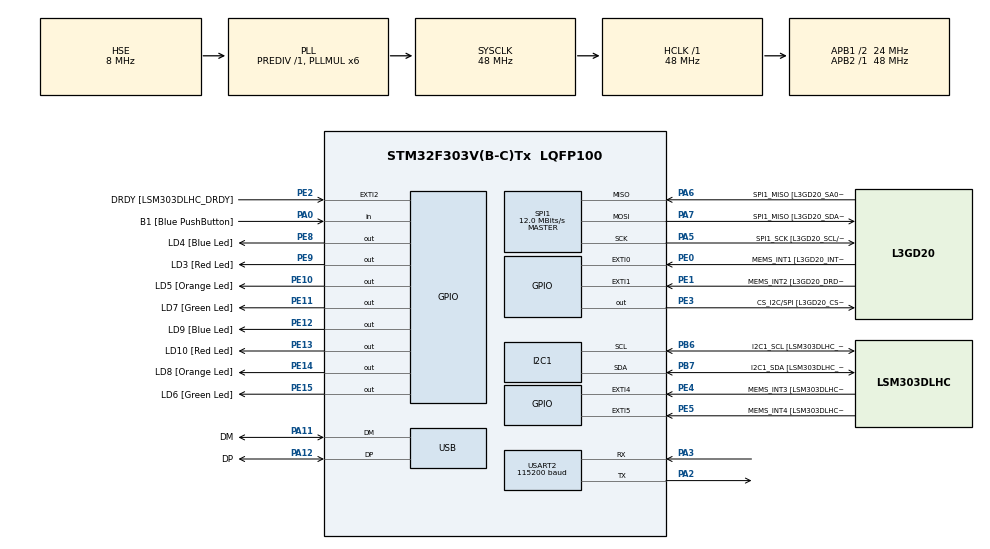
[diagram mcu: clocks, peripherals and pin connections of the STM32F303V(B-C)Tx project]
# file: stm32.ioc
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I2C1.Timing=0x00201D2B
I2C1.Timing-I2C=0x2000090E
Mcu.Family=STM32F3
Mcu.Name=STM32F303V(B-C)Tx
Mcu.Package=LQFP100
NVIC.EXTI2_TSC_IRQn=true\:0\:0\:false\:false\:true\:true\:true\:true
NVIC.PriorityGroup=NVIC_PRIORITYGROUP_0
NVIC.USART2_IRQn=true\:0\:0\:false\:false\:true\:true\:true\:true
NVIC.USB_LP_CAN_RX0_IRQn=true\:0\:0\:false\:false\:true\:false\:true\:true
PA0.GPIO_Label=B1 [Blue PushButton]
PA0.Signal=GPIO_Input
PA11.GPIO_Label=DM
PA11.Mode=Device
PA11.Signal=USB_DM
PA12.GPIO_Label=DP
PA12.Mode=Device
PA12.Signal=USB_DP
PA13.GPIO_Label=SWDIO
PA13.Mode=Serial_Wire
PA13.Signal=SYS_JTMS-SWDIO
PA14.GPIO_Label=SWCLK
PA14.Mode=Serial_Wire
PA14.Signal=SYS_JTCK-SWCLK
PA2.Mode=Asynchronous
PA2.Signal=USART2_TX
PA3.Mode=Asynchronous
PA3.Signal=USART2_RX
PA5.GPIO_Label=SPI1_SCK [L3GD20_SCL/SPC]
PA5.Mode=Full_Duplex_Master
PA5.Signal=SPI1_SCK
PA6.GPIO_Label=SPI1_MISO [L3GD20_SA0/SDO]
PA6.Mode=Full_Duplex_Master
PA6.Signal=SPI1_MISO
PA7.GPIO_Label=SPI1_MISO [L3GD20_SDA/SDI/SDO]
PA7.Mode=Full_Duplex_Master
PA7.Signal=SPI1_MOSI
PB3.GPIO_Label=SWO
PB3.Signal=SYS_JTDO-TRACESWO
PB6.GPIO_Label=I2C1_SCL [LSM303DLHC_SCL]
PB6.GPIO_Pu=GPIO_PULLUP
PB6.Mode=I2C
PB6.Signal=I2C1_SCL
PB7.GPIO_Label=I2C1_SDA [LSM303DLHC_SDA]
PB7.GPIO_Pu=GPIO_PULLUP
PB7.Mode=I2C
PB7.Signal=I2C1_SDA
PC14-OSC32_IN.GPIO_Label=OSC32_IN
PC14-OSC32_IN.Signal=RCC_OSC32_IN
PC15-OSC32_OUT.GPIO_Label=OSC32_OUT
PC15-OSC32_OUT.Signal=RCC_OSC32_OUT
PE0.GPIO_Label=MEMS_INT1 [L3GD20_INT1]
PE0.GPIO_ModeDefaultEXTI=GPIO_MODE_EVT_RISING
PE0.Signal=GPXTI0
PE1.GPIO_Label=MEMS_INT2 [L3GD20_DRDY/INT2]
PE1.GPIO_ModeDefaultEXTI=GPIO_MODE_EVT_RISING
PE1.Signal=GPXTI1
PE10.GPIO_Label=LD5 [Orange Led]
PE10.Signal=GPIO_Output
PE11.GPIO_Label=LD7 [Green Led]
PE11.Signal=GPIO_Output
PE12.GPIO_Label=LD9 [Blue Led]
PE12.Signal=GPIO_Output
PE13.GPIO_Label=LD10 [Red Led]
PE13.Signal=GPIO_Output
PE14.GPIO_Label=LD8 [Orange Led]
PE14.Signal=GPIO_Output
PE15.GPIO_Label=LD6 [Green Led]
PE15.Signal=GPIO_Output
PE2.GPIO_Label=DRDY [LSM303DLHC_DRDY]
PE2.GPIO_ModeDefaultEXTI=GPIO_MODE_IT_RISING_FALLING
PE2.Signal=GPXTI2
PE3.GPIO_Label=CS_I2C/SPI [L3GD20_CS_I2C/SPI]
PE3.Signal=GPIO_Output
PE4.GPIO_Label=MEMS_INT3 [LSM303DLHC_INT1]
PE4.GPIO_ModeDefaultEXTI=GPIO_MODE_EVT_RISING
PE4.Signal=GPXTI4
PE5.GPIO_Label=MEMS_INT4 [LSM303DLHC_INT2]
PE5.GPIO_ModeDefaultEXTI=GPIO_MODE_EVT_RISING
PE5.Signal=GPXTI5
PE8.GPIO_Label=LD4 [Blue Led]
PE8.Signal=GPIO_Output
PE9.GPIO_Label=LD3 [Red Led]
PE9.Signal=GPIO_Output
PF0-OSC_IN.GPIO_Label=OSC_IN
PF0-OSC_IN.Mode=HSE-External-Clock-Source
PF0-OSC_IN.Signal=RCC_OSC_IN
PF1-OSC_OUT.GPIO_Label=OSC_OUT
PF1-OSC_OUT.Signal=RCC_OSC_OUT
ProjectManager.HeapSize=0x200
ProjectManager.StackSize=0x400
ProjectManager.TargetToolchain=STM32CubeIDE
RCC.AHBFreq_Value=48000000
RCC.APB1CLKDivider=RCC_HCLK_DIV2
RCC.APB1Freq_Value=24000000
RCC.APB1TimFreq_Value=48000000
RCC.APB2Freq_Value=48000000
RCC.APB2TimFreq_Value=48000000
RCC.CortexFreq_Value=48000000
RCC.HCLKFreq_Value=48000000
RCC.HSE_VALUE=8000000
RCC.HSI_VALUE=8000000
RCC.LSE_VALUE=32768
RCC.PLLMUL=RCC_PLL_MUL6
RCC.SYSCLKFreq_VALUE=48000000
RCC.SYSCLKSourceVirtual=RCC_SYSCLKSOURCE_PLLCLK
RCC.USBFreq_Value=48000000
SPI1.BaudRatePrescaler=SPI_BAUDRATEPRESCALER_4
SPI1.BaudRatePrescaler-Full_Duplex_Master=SPI_BAUDRATEPRESCALER_2
SPI1.CalculateBaudRate=12.0 MBits/s
SPI1.CalculateBaudRate-Full_Duplex_Master=24.0 MBits/s
SPI1.Direction=SPI_DIRECTION_2LINES
SPI1.Mode=SPI_MODE_MASTER
SPI1.Mode-Full_Duplex_Master=SPI_MODE_MASTER
SPI1.VirtualType=VM_MASTER
USART2.BaudRate=115200
USART2.VirtualMode-Asynchronous=VM_ASYNC
USB_DEVICE.CLASS_NAME_FS=CDC
USB_DEVICE.VirtualMode=Cdc
USB_DEVICE.VirtualModeFS=Cdc_FS
VP_USB_DEVICE_VS_USB_DEVICE_CDC_FS.Mode=CDC_FS
board=STM32F3DISCOVERY

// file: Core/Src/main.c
/* USER CODE BEGIN Header */
/**
  ******************************************************************************
  * @file           : main.c
  * @brief          : Main program body
  ******************************************************************************
  * @attention
  *
  * Copyright (c) 2025 STMicroelectronics.
  * All rights reserved.
  *
  * This software is licensed under terms that can be found in the LICENSE file
  * in the root directory of this software component.
  * If no LICENSE file comes with this software, it is provided AS-IS.
  *
  ******************************************************************************
  */
/* USER CODE END Header */
#include "main.h"
#include "usb_device.h"

/* USER CODE BEGIN Includes */
#include <stdlib.h>
#include <stdio.h>
#include <string.h>

#include "usbd_cdc_if.h"
#include "shared_logic.h"
#include <stdbool.h>

/* USER CODE END Includes */

I2C_HandleTypeDef hi2c1;

SPI_HandleTypeDef hspi1;

UART_HandleTypeDef huart2;

void SystemClock_Config(void);
static void MX_GPIO_Init(void);
static void MX_I2C1_Init(void);
static void MX_SPI1_Init(void);
static void MX_USART2_UART_Init(void);

/* USER CODE BEGIN 0 */
int16_t little_endian(int16_t value) {
    return (value << 8) | ((value >> 8) & 0xFF);
}

uint8_t rx_buffer[256]; // Adjust size as needed
char buffer[128];
char send_AT_command[64];

enum {
	NOISE_DATA,
	MAGNETOMETER_DATA,
} state = NOISE_DATA;

typedef struct __attribute__((packed)) {
	uint16_t header;
	double latitude;
	double longitude;
	double decibels;
} NoiseData;

void sendNoiseData(double latitude, double longitude, double decibels) {
	NoiseData data = {
		.header = 0xABCD,
		.latitude = latitude,
		.longitude = longitude,
		.decibels = decibels,
	};
    snprintf(buffer, sizeof(buffer), "{\"HEADER\":%u, \"D1\":%.3f, \"D2\":%.3f, \"D3\":%.3f}\n\r", data.header, data.latitude, data.longitude, data.decibels);
    snprintf(send_AT_command, sizeof(send_AT_command), "AT+CIPSEND=0,%u\r\n", strlen(buffer) - 2);
    //CDC_Transmit_FS((uint8_t*)&data, sizeof(NoiseData));
}

double testLatitude = -80;
double testLongitude = -150;
double testDecibels = 50;

void sendTestData() {
	sendNoiseData(testLatitude, testLongitude, testDecibels);

	testLatitude += 20;
	if (testLatitude > 80) {
		testLatitude = -80;
		testLongitude += 50;
		if (testLongitude > 150) testLongitude = -150;
	}
	testDecibels += 10;
	if (testDecibels > 150) testDecibels = 50;
}

uint8_t i2c1Write(uint8_t device, uint8_t reg, uint8_t data) {
	return HAL_I2C_Mem_Write(&hi2c1, device << 1, reg, I2C_MEMADD_SIZE_8BIT, &data, 1, 10);
}

void i2c1Read(uint8_t device, uint8_t reg, uint8_t *data, uint8_t size) {
	if (size > 1 && device == 0x19) reg |= 0x80;
	HAL_I2C_Mem_Read(&hi2c1, device << 1, reg, I2C_MEMADD_SIZE_8BIT, data, size, size);
}

void initMagnetometer() {
	__HAL_I2C_ENABLE(&hi2c1);
	i2c1Write(0x1E, 0x00, 0x10); // 7.5 Hz
	i2c1Write(0x1E, 0x02, 0x00); // Continuous conversion mode
}

typedef struct __attribute__((packed)) {
	uint16_t header;
	uint8_t data[6];
} MagnetometerData;

void HAL_GPIO_EXTI_Callback(uint16_t GPIO_Pin) {
	if (state == MAGNETOMETER_DATA) {
		MagnetometerData data = { .header = 0xBBCD };
		i2c1Read(0x1E, 0x03, data.data, 6);

        uint16_t combined1 = (data.data[0] << 8) | data.data[1];
        uint16_t combined2 = (data.data[2] << 8) | data.data[3];
        uint16_t combined3 = (data.data[4] << 8) | data.data[5];

        combined1 = little_endian(combined1);
        combined2 = little_endian(combined2);
        combined3 = little_endian(combined3);

        snprintf(buffer, sizeof(buffer), "{\"HEADER\":%u, \"D1\":%.3f, \"D2\":%.3f, \"D3\":%.3f}\n\r", data.header, (float)combined1, (float)combined2, (float)combined3);
        snprintf(send_AT_command, sizeof(send_AT_command), "AT+CIPSEND=0,%u\r\n", strlen(buffer) - 2);
        //CDC_Transmit_FS((uint8_t *)&data, sizeof(MagnetometerData));
	}
}

char ssid[64];
char password[64];
char ssid_AT_command[256];

// Function to send response back to Python
void SendResponseToPC(const char* message) {
    CDC_Transmit_FS((uint8_t*)message, strlen(message));
}

void parse_ipd_message(char *buffer) {
    // Find the start of the +IPD message
    char *start = strstr(buffer, "+IPD,");
    if (start != NULL) {
        // Move pointer to the data part
        start = strchr(start, ':');
        if (start != NULL) {
            start++; // Move past the ':'
            char *delimiter = strchr(start, ':');
            if (delimiter != NULL) {
                *delimiter = '\0'; // Null-terminate the SSID
                strcpy(ssid, start); // Copy the SSID

                // Move past the ':' to get the password
                start = delimiter + 1;
                strcpy(password, start); // Copy the password
            }
        }
    }
}

/* USER CODE END 0 */

int main(void)
{

  /* MCU Configuration--------------------------------------------------------*/

  /* Reset of all peripherals, Initializes the Flash interface and the Systick. */
  HAL_Init();

  /* Configure the system clock */
  SystemClock_Config();

  /* Initialize all configured peripherals */
  MX_GPIO_Init();
  MX_I2C1_Init();
  MX_SPI1_Init();
  MX_USB_DEVICE_Init();
  MX_USART2_UART_Init();
  /* USER CODE BEGIN 2 */

  initMagnetometer();

  memset(ssid_AT_command, 0, sizeof(ssid_AT_command));
  memset(ssid, 0, sizeof(ssid));
  memset(password, 0, sizeof(password));

  /* USER CODE END 2 */

  /* Infinite loop */
  /* USER CODE BEGIN WHILE */

  GPIO_PinState lastState = GPIO_PIN_RESET;
  uint8_t i = 0;

  int8_t command_counter = 0;
  uint8_t waiting_on_response = 0;
  uint8_t sending_data = 0;
  uint8_t send_command_sent = 0;

  while (1)
  {
	/* UART INTERRUPT CODE */
	  if (received_buffer[0] != 0 && sending_data == 1) sending_data = 0; // Nov ukaz bo ustavil pošiljanje podatkov
	  switch (received_buffer[0]) {
	  	  case 'A': // Inicializiraj
	  		  if (waiting_on_response == 0) {
				  if (command_counter == 0) command_counter = 3;

				  switch (command_counter) {
					  case 3:
						  HAL_UART_Transmit(&huart2, (uint8_t*)"AT+CWMODE=3,0\r\n", strlen("AT+CWMODE=3,0\r\n"), HAL_MAX_DELAY);
						  HAL_UART_Receive_IT(&huart2, (uint8_t*)rx_buffer, sizeof(rx_buffer));
						  waiting_on_response = 1;
						  break;
					  case 2:
						  HAL_UART_Transmit(&huart2, (uint8_t*)"AT+CIPMUX=1\r\n", strlen("AT+CIPMUX=1\r\n"), HAL_MAX_DELAY);
						  HAL_UART_Receive_IT(&huart2, (uint8_t*)rx_buffer, sizeof(rx_buffer));
						  waiting_on_response = 1;
						  break;
					  case 1:
						  HAL_UART_Transmit(&huart2, (uint8_t*)"AT+CWJAP=\"1FDCB3\",\"qq3dmpu8g6\"\r\n", strlen("AT+CWJAP=\"1FDCB3\",\"qq3dmpu8g6\"\r\n"), HAL_MAX_DELAY);
						  HAL_UART_Receive_IT(&huart2, (uint8_t*)rx_buffer, sizeof(rx_buffer));
						  waiting_on_response = 1;
						  break;
					  default:
						  memset(received_buffer, 0, sizeof(received_buffer));
						  break;
				  }
	  		  }

			  HAL_Delay(100);
	          break;
	      case 'B': // Alternativna inicializacija
	  		  if (waiting_on_response == 0) {
				  if (command_counter == 0) command_counter = 4;

				  switch (command_counter) {
					  case 4:
						  HAL_UART_Transmit(&huart2, (uint8_t*)"AT+CWMODE=0,0\r\n", strlen("AT+CWMODE=0,0\r\n"), HAL_MAX_DELAY);
						  HAL_UART_Receive_IT(&huart2, (uint8_t*)rx_buffer, sizeof(rx_buffer));
						  waiting_on_response = 1;
						  break;
					  case 3:
						  HAL_UART_Transmit(&huart2, (uint8_t*)"AT+CWMODE=3,0\r\n", strlen("AT+CWMODE=3,0\r\n"), HAL_MAX_DELAY);
						  HAL_UART_Receive_IT(&huart2, (uint8_t*)rx_buffer, sizeof(rx_buffer));
						  waiting_on_response = 1;
						  break;
					  case 2:
						  HAL_UART_Transmit(&huart2, (uint8_t*)"AT+CIPMUX=1\r\n", strlen("AT+CIPMUX=1\r\n"), HAL_MAX_DELAY);
						  HAL_UART_Receive_IT(&huart2, (uint8_t*)rx_buffer, sizeof(rx_buffer));
						  waiting_on_response = 1;
						  break;
					  case 1:
						  HAL_UART_Transmit(&huart2, (uint8_t*)"AT+CIPSERVER=1,80\r\n", strlen("AT+CIPSERVER=1,80\r\n"), HAL_MAX_DELAY);
						  HAL_UART_Receive_IT(&huart2, (uint8_t*)rx_buffer, sizeof(rx_buffer));
						  waiting_on_response = 1;
						  break;
					  default:
						  memset(received_buffer, 0, sizeof(received_buffer));
						  break;
				  }
	  		  }

			  HAL_Delay(100);
	          break;
	      case 'C': // querries the current network connection of ESP32
	    	  memset(received_buffer, 0, sizeof(received_buffer));

	          HAL_UART_Transmit(&huart2, (uint8_t*)"AT+CWJAP?\r\n", strlen("AT+CWJAP?\r\n"), HAL_MAX_DELAY);
	          HAL_UART_Receive_IT(&huart2, (uint8_t*)rx_buffer, sizeof(rx_buffer));

	          HAL_Delay(100);
	          break;
	      case 'D':
	    	  // Handle case for 'D'
	          break;
	      case 'E':
	          // Handle case for 'E'
	          break;
	      case 'F':
	          // Handle case for 'F'
	          break;
	      case 'G': // Initiates listen mode
	          memset(received_buffer, 0, sizeof(received_buffer)); // clear the CDC buffer
	          HAL_UART_Receive_IT(&huart2, (uint8_t*)rx_buffer, sizeof(rx_buffer));

	          while (1) { // Continuous listening
	        	  if (received_buffer[0] == 'G') {
	        		  memset(received_buffer, 0, sizeof(received_buffer)); // clear the CDC buffer
	        		  SendResponseToPC("Listen Mode Exited...");
	        		  break;
	        	  }
	        	  if (received_buffer[0] != 0) {
	        		  memset(rx_buffer, 0, sizeof(rx_buffer)); // make sure not to trigger the command counter decrease thingy which will lear my preset received_buffer
	        		  break;
	        	  }
	              if (rx_buffer[3] != 0) {
					  if (strstr((char*)rx_buffer, "+IPD") != NULL) {
						  if (strstr((char*)rx_buffer, "REQUEST") != NULL) {
							  CDC_Transmit_FS((uint8_t*)rx_buffer, strlen(rx_buffer));
							  received_buffer[0] = 'I'; // set receive buffer to trigger TCP SEND on next loop
						  } else {
							  HAL_Delay(1000);
							  CDC_Transmit_FS((uint8_t*)rx_buffer, strlen(rx_buffer));
							  parse_ipd_message((char*)rx_buffer);
							  memset(rx_buffer, 0, sizeof(rx_buffer));
							  char debug_message[256];
							  if(ssid == "") break;
							  snprintf(debug_message, strlen(debug_message), "SSID: %s, Password: %s\n", ssid, password);
							  SendResponseToPC(debug_message);
							  received_buffer[0] = 'H'; // set receive buffer to trigger CWJAP on next loop
						  }
					  }
					  CDC_Transmit_FS((uint8_t*)rx_buffer, strlen(rx_buffer));
	                  HAL_Delay(100);
	                  memset(rx_buffer, 0, sizeof(rx_buffer));
	                  HAL_UART_AbortReceive_IT(&huart2);
	                  HAL_UART_Receive_IT(&huart2, (uint8_t*)rx_buffer, sizeof(rx_buffer));

	              }
	              HAL_Delay(10); // Avoid CPU overuse
	          }
	          break;
	      case 'H': // Sets the network connection of ESP32, AUTOMATIC!
	          memset(received_buffer, 0, sizeof(received_buffer)); // clear the CDC receive buffer so we avoid infinite loop
	          HAL_Delay(2000);

	          snprintf(ssid_AT_command, sizeof(ssid_AT_command), "AT+CWJAP=\"%s\",\"%s\"\r\n", ssid, password);
	          SendResponseToPC(ssid_AT_command);

	          HAL_UART_Transmit(&huart2, (uint8_t*)ssid_AT_command, strlen(ssid_AT_command), HAL_MAX_DELAY);
	          HAL_UART_Receive_IT(&huart2, (uint8_t*)rx_buffer, sizeof(rx_buffer));

	          HAL_Delay(100);
	          break;
	      case 'I': // Send prompt for network config, AUTOMATIC!
	  		  if (waiting_on_response == 0) {
				  if (command_counter == 0) {
					  command_counter = 3;
					  HAL_Delay(5000);
				  }

				  //memset(received_buffer, 0, sizeof(received_buffer));

				  switch (command_counter) {
					  case 3:
						  HAL_UART_Transmit(&huart2, (uint8_t*)"AT+CIPSTART=3,\"TCP\",\"192.168.4.2\",8081\r\n", strlen("AT+CIPSTART=3,\"TCP\",\"192.168.4.2\",8081\r\n"), HAL_MAX_DELAY);
						  HAL_UART_Receive_IT(&huart2, (uint8_t*)rx_buffer, sizeof(rx_buffer));
						  SendResponseToPC("3");
						  waiting_on_response = 1;
						  break;
					  case 2:
						  HAL_UART_Transmit(&huart2, (uint8_t*)"AT+CIPSEND=3,6\r\n", strlen("AT+CIPSEND=3,6\r\n"), HAL_MAX_DELAY);
						  HAL_UART_Receive_IT(&huart2, (uint8_t*)rx_buffer, sizeof(rx_buffer));
						  SendResponseToPC("2");
						  waiting_on_response = 1;
						  break;
					  case 1:
						  HAL_UART_Transmit(&huart2, (uint8_t*)"giveme\r\n", strlen("giveme\r\n"), HAL_MAX_DELAY);
						  HAL_UART_Receive_IT(&huart2, (uint8_t*)rx_buffer, sizeof(rx_buffer));
						  SendResponseToPC("1");
						  waiting_on_response = 1;
						  received_buffer[0] = 'G'; // set receive buffer to trigger LISTEN MODE again
						  memset(rx_buffer, 0, sizeof(rx_buffer)); // make sure not to trigger the command counter decrease thingy which will lear my preset received_buffer
						  break;
					  default:
						  memset(received_buffer, 0, sizeof(received_buffer));
						  break;
				  }
	  		  }

	          HAL_Delay(100);

	          if (received_buffer[0] == 'G') {
		          memset(received_buffer, 0, sizeof(received_buffer)); // clear the CDC buffer
		          HAL_UART_Receive_IT(&huart2, (uint8_t*)rx_buffer, sizeof(rx_buffer));

		          while (1) { // Continuous listening
		        	  if (received_buffer[0] == 'G') {
		        		  memset(received_buffer, 0, sizeof(received_buffer)); // clear the CDC buffer
		        		  SendResponseToPC("Listen Mode Exited...");
		        		  break;
		        	  }
		        	  if (received_buffer[0] != 0) {
		        		  memset(rx_buffer, 0, sizeof(rx_buffer)); // make sure not to trigger the command counter decrease thingy which will lear my preset received_buffer
		        		  break;
		        	  }
		              if (rx_buffer[3] != 0) {
						  if (strstr((char*)rx_buffer, "+IPD") != NULL) {
							  if (strstr((char*)rx_buffer, "REQUEST") != NULL) {
								  CDC_Transmit_FS((uint8_t*)rx_buffer, strlen(rx_buffer));
								  received_buffer[0] = 'I'; // set receive buffer to trigger TCP SEND on next loop
							  } else {
								  CDC_Transmit_FS((uint8_t*)rx_buffer, strlen(rx_buffer));
								  parse_ipd_message((char*)rx_buffer);
								  memset(rx_buffer, 0, sizeof(rx_buffer));
								  char debug_message[256];
								  if(ssid == "") break;
								  snprintf(debug_message, strlen(debug_message), "SSID: %s, Password: %s\n", ssid, password);
								  SendResponseToPC(debug_message);
								  received_buffer[0] = 'H'; // set receive buffer to trigger CWJAP on next loop
							  }
						  }
						  CDC_Transmit_FS((uint8_t*)rx_buffer, strlen(rx_buffer));
		                  HAL_Delay(100);
		                  memset(rx_buffer, 0, sizeof(rx_buffer));
		                  HAL_UART_AbortReceive_IT(&huart2);
		                  HAL_UART_Receive_IT(&huart2, (uint8_t*)rx_buffer, sizeof(rx_buffer));

		              }
		              HAL_Delay(10); // Avoid CPU overuse
		          }
	          }
	          break;
	      case 'J':
	          // Handle case for 'J'
	          break;
	      case 'K':
	          // Handle case for 'K'
	          break;
	      case 'L':
	          // Handle case for 'L'
	          break;
	      case 'M':
	          // Handle case for 'M'
	          break;
	      case 'N':
	          // Handle case for 'N'
	          break;
	      case 'O':
	          // Handle case for 'O'
	          break;
	      case 'P':
	          // Handle case for 'P'
	          break;
	      case 'Q':
	          // Handle case for 'Q'
	          break;
	      case 'R':
	          // Handle case for 'R'
	          break;
	      case 'S':
	          // Handle case for 'S'
	          break;
	      case 'T':
	          // Handle case for 'T'
	          break;
	      case 'U':
	          // Handle case for 'U'
	          break;
	      case 'V':
	          // Handle case for 'V'
	          break;
	      case 'W':
	          // Handle case for 'W'
	          break;
	      case 'X':
	    	  memset(received_buffer, 0, sizeof(received_buffer));

			  HAL_UART_Transmit(&huart2, (uint8_t*)"AT\r\n", strlen("AT\r\n"), HAL_MAX_DELAY);
			  HAL_UART_Receive_IT(&huart2, (uint8_t*)rx_buffer, sizeof(rx_buffer));

			  HAL_Delay(100);
	          break;
	      case 'Y':
	    	  memset(received_buffer, 0, sizeof(received_buffer));

			  HAL_UART_Transmit(&huart2, (uint8_t*)"AT+CIPSTA?\r\n", strlen("AT+CIPSTA?\r\n"), HAL_MAX_DELAY);
			  HAL_UART_Receive_IT(&huart2, (uint8_t*)rx_buffer, sizeof(rx_buffer));

			  HAL_Delay(100);
	          break;
	      case 'Z': // Posiljanje podatkov
	  		  if (waiting_on_response == 0) {
				  if (command_counter == 0) command_counter = 2;

				  switch (command_counter) {
					  case 2:
						  HAL_UART_Transmit(&huart2, (uint8_t*)"AT+CIPSTART=0,\"TCP\",\"192.168.0.30\",8080\r\n", strlen("AT+CIPSTART=0,\"TCP\",\"192.168.0.30\",8080\r\n"), HAL_MAX_DELAY);
						  HAL_UART_Receive_IT(&huart2, (uint8_t*)rx_buffer, sizeof(rx_buffer));
						  waiting_on_response = 1;
						  break;
					  case 1:
						  sending_data = 1;
						  send_command_sent = 0;
						  memset(received_buffer, 0, sizeof(received_buffer));
						  command_counter = 0;
						  break;
					  default:
						  memset(received_buffer, 0, sizeof(received_buffer));
						  break;
				  }
	  		  }

			  HAL_Delay(100);
	          break;
	      default:
	    	  HAL_UART_AbortReceive_IT(&huart2);
	          break;
	  }

	/* UART INTERRUPT CODE END*/
	/* MAGNETOMETER CODE */

	GPIO_PinState currentState = HAL_GPIO_ReadPin(GPIOA, GPIO_PIN_0);
	if (!lastState && currentState) state = (state + 1) % 2;
	lastState = currentState;

	switch (state) {
	case NOISE_DATA:
		HAL_GPIO_WritePin(GPIOE, GPIO_PIN_8, GPIO_PIN_SET);
		HAL_GPIO_WritePin(GPIOE, GPIO_PIN_9, GPIO_PIN_RESET);
		break;
	case MAGNETOMETER_DATA:
		HAL_GPIO_WritePin(GPIOE, GPIO_PIN_8, GPIO_PIN_RESET);
		HAL_GPIO_WritePin(GPIOE, GPIO_PIN_9, GPIO_PIN_SET);
		break;
	}

	if (state == NOISE_DATA && i == 0) sendTestData();
	i = (i + 1) % 50;

	/* MAGNETOMETER CODE END */

	if (sending_data == 1 && waiting_on_response == 0 && buffer[0] != 0 && send_AT_command[0] != 0) {
		if (send_command_sent == 0) {
		  HAL_UART_Transmit(&huart2, (uint8_t*)send_AT_command, strlen(send_AT_command), HAL_MAX_DELAY);
		  HAL_UART_Receive_IT(&huart2, (uint8_t*)rx_buffer, sizeof(rx_buffer));
		  waiting_on_response = 1;
		  send_command_sent = 1;
		}
		else {
		  HAL_UART_Transmit(&huart2, (uint8_t*)buffer, strlen(buffer), HAL_MAX_DELAY);
		  HAL_UART_Receive_IT(&huart2, (uint8_t*)rx_buffer, sizeof(rx_buffer));
		  waiting_on_response = 1;
		  send_command_sent = 0;

		  memset(buffer, 0, sizeof(buffer));
		  memset(send_AT_command, 0, sizeof(send_AT_command));

		  HAL_Delay(500);
		}
	}

	if (rx_buffer[0] != 0) {
	  HAL_GPIO_WritePin(GPIOE, GPIO_PIN_12, GPIO_PIN_SET);
	  HAL_Delay(1000);
	  HAL_GPIO_WritePin(GPIOE, GPIO_PIN_12, GPIO_PIN_RESET);

	  CDC_Transmit_FS((uint8_t*)rx_buffer, strlen(rx_buffer));
	  memset(rx_buffer, 0, sizeof(rx_buffer));
	  HAL_UART_AbortReceive_IT(&huart2);

	  if (command_counter > 0) command_counter--;
	  if (command_counter <= 0) memset(received_buffer, 0, sizeof(received_buffer));
	  waiting_on_response = 0;
	}

	HAL_Delay(10);

    /* USER CODE END WHILE */

  }
}

void SystemClock_Config(void)
{
  RCC_OscInitTypeDef RCC_OscInitStruct = {0};
  RCC_ClkInitTypeDef RCC_ClkInitStruct = {0};
  RCC_PeriphCLKInitTypeDef PeriphClkInit = {0};

  /** Initializes the RCC Oscillators according to the specified parameters
  * in the RCC_OscInitTypeDef structure.
  */
  RCC_OscInitStruct.OscillatorType = RCC_OSCILLATORTYPE_HSI|RCC_OSCILLATORTYPE_HSE;
  RCC_OscInitStruct.HSEState = RCC_HSE_BYPASS;
  RCC_OscInitStruct.HSEPredivValue = RCC_HSE_PREDIV_DIV1;
  RCC_OscInitStruct.HSIState = RCC_HSI_ON;
  RCC_OscInitStruct.HSICalibrationValue = RCC_HSICALIBRATION_DEFAULT;
  RCC_OscInitStruct.PLL.PLLState = RCC_PLL_ON;
  RCC_OscInitStruct.PLL.PLLSource = RCC_PLLSOURCE_HSE;
  RCC_OscInitStruct.PLL.PLLMUL = RCC_PLL_MUL6;
  if (HAL_RCC_OscConfig(&RCC_OscInitStruct) != HAL_OK)
  {
    Error_Handler();
  }

  /** Initializes the CPU, AHB and APB buses clocks
  */
  RCC_ClkInitStruct.ClockType = RCC_CLOCKTYPE_HCLK|RCC_CLOCKTYPE_SYSCLK
                              |RCC_CLOCKTYPE_PCLK1|RCC_CLOCKTYPE_PCLK2;
  RCC_ClkInitStruct.SYSCLKSource = RCC_SYSCLKSOURCE_PLLCLK;
  RCC_ClkInitStruct.AHBCLKDivider = RCC_SYSCLK_DIV1;
  RCC_ClkInitStruct.APB1CLKDivider = RCC_HCLK_DIV2;
  RCC_ClkInitStruct.APB2CLKDivider = RCC_HCLK_DIV1;

  if (HAL_RCC_ClockConfig(&RCC_ClkInitStruct, FLASH_LATENCY_1) != HAL_OK)
  {
    Error_Handler();
  }
  PeriphClkInit.PeriphClockSelection = RCC_PERIPHCLK_USB|RCC_PERIPHCLK_USART2
                              |RCC_PERIPHCLK_I2C1;
  PeriphClkInit.Usart2ClockSelection = RCC_USART2CLKSOURCE_PCLK1;
  PeriphClkInit.I2c1ClockSelection = RCC_I2C1CLKSOURCE_HSI;
  PeriphClkInit.USBClockSelection = RCC_USBCLKSOURCE_PLL;
  if (HAL_RCCEx_PeriphCLKConfig(&PeriphClkInit) != HAL_OK)
  {
    Error_Handler();
  }
}

static void MX_I2C1_Init(void)
{

  hi2c1.Instance = I2C1;
  hi2c1.Init.Timing = 0x00201D2B;
  hi2c1.Init.OwnAddress1 = 0;
  hi2c1.Init.AddressingMode = I2C_ADDRESSINGMODE_7BIT;
  hi2c1.Init.DualAddressMode = I2C_DUALADDRESS_DISABLE;
  hi2c1.Init.OwnAddress2 = 0;
  hi2c1.Init.OwnAddress2Masks = I2C_OA2_NOMASK;
  hi2c1.Init.GeneralCallMode = I2C_GENERALCALL_DISABLE;
  hi2c1.Init.NoStretchMode = I2C_NOSTRETCH_DISABLE;
  if (HAL_I2C_Init(&hi2c1) != HAL_OK)
  {
    Error_Handler();
  }

  /** Configure Analogue filter
  */
  if (HAL_I2CEx_ConfigAnalogFilter(&hi2c1, I2C_ANALOGFILTER_ENABLE) != HAL_OK)
  {
    Error_Handler();
  }

  /** Configure Digital filter
  */
  if (HAL_I2CEx_ConfigDigitalFilter(&hi2c1, 0) != HAL_OK)
  {
    Error_Handler();
  }

}

static void MX_SPI1_Init(void)
{

  /* SPI1 parameter configuration*/
  hspi1.Instance = SPI1;
  hspi1.Init.Mode = SPI_MODE_MASTER;
  hspi1.Init.Direction = SPI_DIRECTION_2LINES;
  hspi1.Init.DataSize = SPI_DATASIZE_4BIT;
  hspi1.Init.CLKPolarity = SPI_POLARITY_LOW;
  hspi1.Init.CLKPhase = SPI_PHASE_1EDGE;
  hspi1.Init.NSS = SPI_NSS_SOFT;
  hspi1.Init.BaudRatePrescaler = SPI_BAUDRATEPRESCALER_4;
  hspi1.Init.FirstBit = SPI_FIRSTBIT_MSB;
  hspi1.Init.TIMode = SPI_TIMODE_DISABLE;
  hspi1.Init.CRCCalculation = SPI_CRCCALCULATION_DISABLE;
  hspi1.Init.CRCPolynomial = 7;
  hspi1.Init.CRCLength = SPI_CRC_LENGTH_DATASIZE;
  hspi1.Init.NSSPMode = SPI_NSS_PULSE_ENABLE;
  if (HAL_SPI_Init(&hspi1) != HAL_OK)
  {
    Error_Handler();
  }

}

static void MX_USART2_UART_Init(void)
{

  huart2.Instance = USART2;
  huart2.Init.BaudRate = 115200;
  huart2.Init.WordLength = UART_WORDLENGTH_8B;
  huart2.Init.StopBits = UART_STOPBITS_1;
  huart2.Init.Parity = UART_PARITY_NONE;
  huart2.Init.Mode = UART_MODE_TX_RX;
  huart2.Init.HwFlowCtl = UART_HWCONTROL_NONE;
  huart2.Init.OverSampling = UART_OVERSAMPLING_16;
  huart2.Init.OneBitSampling = UART_ONE_BIT_SAMPLE_DISABLE;
  huart2.AdvancedInit.AdvFeatureInit = UART_ADVFEATURE_NO_INIT;
  if (HAL_UART_Init(&huart2) != HAL_OK)
  {
    Error_Handler();
  }

}

static void MX_GPIO_Init(void)
{
  GPIO_InitTypeDef GPIO_InitStruct = {0};

  /* GPIO Ports Clock Enable */
  __HAL_RCC_GPIOE_CLK_ENABLE();
  __HAL_RCC_GPIOC_CLK_ENABLE();
  __HAL_RCC_GPIOF_CLK_ENABLE();
  __HAL_RCC_GPIOA_CLK_ENABLE();
  __HAL_RCC_GPIOB_CLK_ENABLE();

  /*Configure GPIO pin Output Level */
  HAL_GPIO_WritePin(GPIOE, CS_I2C_SPI_Pin|LD4_Pin|LD3_Pin|LD5_Pin
                          |LD7_Pin|LD9_Pin|LD10_Pin|LD8_Pin
                          |LD6_Pin, GPIO_PIN_RESET);

  /*Configure GPIO pin : DRDY_Pin */
  GPIO_InitStruct.Pin = DRDY_Pin;
  GPIO_InitStruct.Mode = GPIO_MODE_IT_RISING_FALLING;
  GPIO_InitStruct.Pull = GPIO_NOPULL;
  HAL_GPIO_Init(DRDY_GPIO_Port, &GPIO_InitStruct);

  /*Configure GPIO pins : CS_I2C_SPI_Pin LD4_Pin LD3_Pin LD5_Pin
                           LD7_Pin LD9_Pin LD10_Pin LD8_Pin
                           LD6_Pin */
  GPIO_InitStruct.Pin = CS_I2C_SPI_Pin|LD4_Pin|LD3_Pin|LD5_Pin
                          |LD7_Pin|LD9_Pin|LD10_Pin|LD8_Pin
                          |LD6_Pin;
  GPIO_InitStruct.Mode = GPIO_MODE_OUTPUT_PP;
  GPIO_InitStruct.Pull = GPIO_NOPULL;
  GPIO_InitStruct.Speed = GPIO_SPEED_FREQ_LOW;
  HAL_GPIO_Init(GPIOE, &GPIO_InitStruct);

  /*Configure GPIO pins : MEMS_INT3_Pin MEMS_INT4_Pin MEMS_INT1_Pin MEMS_INT2_Pin */
  GPIO_InitStruct.Pin = MEMS_INT3_Pin|MEMS_INT4_Pin|MEMS_INT1_Pin|MEMS_INT2_Pin;
  GPIO_InitStruct.Mode = GPIO_MODE_EVT_RISING;
  GPIO_InitStruct.Pull = GPIO_NOPULL;
  HAL_GPIO_Init(GPIOE, &GPIO_InitStruct);

  /*Configure GPIO pin : B1_Pin */
  GPIO_InitStruct.Pin = B1_Pin;
  GPIO_InitStruct.Mode = GPIO_MODE_INPUT;
  GPIO_InitStruct.Pull = GPIO_NOPULL;
  HAL_GPIO_Init(B1_GPIO_Port, &GPIO_InitStruct);

  /* EXTI interrupt init*/
  HAL_NVIC_SetPriority(EXTI2_TSC_IRQn, 0, 0);
  HAL_NVIC_EnableIRQ(EXTI2_TSC_IRQn);

}

void Error_Handler(void)
{
  __disable_irq();
  while (1)
  {
  }
}
